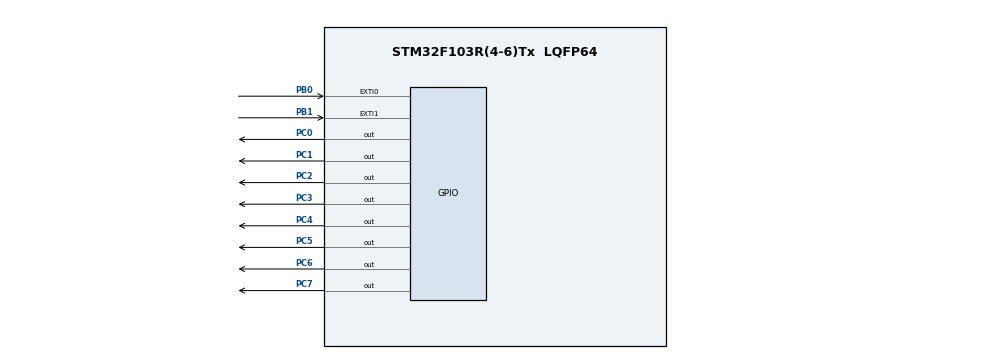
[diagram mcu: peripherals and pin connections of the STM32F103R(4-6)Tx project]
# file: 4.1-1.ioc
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Mcu.Family=STM32F1
Mcu.Name=STM32F103R(4-6)Tx
Mcu.Package=LQFP64
NVIC.EXTI0_IRQn=true\:2\:2\:true\:false\:true\:true\:true
NVIC.EXTI1_IRQn=true\:1\:1\:true\:false\:true\:true\:true
NVIC.PriorityGroup=NVIC_PRIORITYGROUP_2
PB0.GPIO_ModeDefaultEXTI=GPIO_MODE_IT_FALLING
PB0.Signal=GPXTI0
PB1.GPIO_ModeDefaultEXTI=GPIO_MODE_IT_FALLING
PB1.Signal=GPXTI1
PC0.PinState=GPIO_PIN_SET
PC0.Signal=GPIO_Output
PC1.PinState=GPIO_PIN_SET
PC1.Signal=GPIO_Output
PC2.PinState=GPIO_PIN_SET
PC2.Signal=GPIO_Output
PC3.PinState=GPIO_PIN_SET
PC3.Signal=GPIO_Output
PC4.PinState=GPIO_PIN_SET
PC4.Signal=GPIO_Output
PC5.PinState=GPIO_PIN_SET
PC5.Signal=GPIO_Output
PC6.PinState=GPIO_PIN_SET
PC6.Signal=GPIO_Output
PC7.PinState=GPIO_PIN_SET
PC7.Signal=GPIO_Output
ProjectManager.HeapSize=0x200
ProjectManager.StackSize=0x400
ProjectManager.TargetToolchain=STM32CubeIDE
RCC.APB1Freq_Value=8000000
RCC.APB2Freq_Value=8000000
VP_SYS_VS_ND.Mode=No_Debug
board=custom

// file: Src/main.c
/* USER CODE BEGIN Header */
/**
  ******************************************************************************
  * @file           : main.c
  * @brief          : Main program body
  ******************************************************************************
  * @attention
  *
  * <h2><center>&copy; Copyright (c) 2019 STMicroelectronics.
  * All rights reserved.</center></h2>
  *
  * This software component is licensed by ST under BSD 3-Clause license,
  * the "License"; You may not use this file except in compliance with the
  * License. You may obtain a copy of the License at:
  *                        opensource.org/licenses/BSD-3-Clause
  *
  ******************************************************************************
  */
/* USER CODE END Header */

#include "main.h"

void SystemClock_Config(void);
static void MX_GPIO_Init(void);
/* USER CODE BEGIN PFP */
void ByteOut2PC(uint8_t dat);
/* USER CODE END PFP */

int main(void)
{
  /* USER CODE BEGIN 1 */
	int8_t i;
  /* USER CODE END 1 */

  /* MCU Configuration--------------------------------------------------------*/

  /* Reset of all peripherals, Initializes the Flash interface and the Systick. */
  HAL_Init();

  /* Configure the system clock */
  SystemClock_Config();

  /* Initialize all configured peripherals */
  MX_GPIO_Init();

  /* Infinite loop */
  /* USER CODE BEGIN WHILE */
  while (1)
  {
	  for(i=0;i<8;i++)
	  {
		  ByteOut2PC((0xfe<<i)|(0xfe>>(8-i)));
		  HAL_Delay(500);
	  }
    /* USER CODE END WHILE */

  }
}

void SystemClock_Config(void)
{
  RCC_OscInitTypeDef RCC_OscInitStruct = {0};
  RCC_ClkInitTypeDef RCC_ClkInitStruct = {0};

  /** Initializes the CPU, AHB and APB busses clocks
  */
  RCC_OscInitStruct.OscillatorType = RCC_OSCILLATORTYPE_HSI;
  RCC_OscInitStruct.HSIState = RCC_HSI_ON;
  RCC_OscInitStruct.HSICalibrationValue = RCC_HSICALIBRATION_DEFAULT;
  RCC_OscInitStruct.PLL.PLLState = RCC_PLL_NONE;
  if (HAL_RCC_OscConfig(&RCC_OscInitStruct) != HAL_OK)
  {
    Error_Handler();
  }
  /** Initializes the CPU, AHB and APB busses clocks
  */
  RCC_ClkInitStruct.ClockType = RCC_CLOCKTYPE_HCLK|RCC_CLOCKTYPE_SYSCLK
                              |RCC_CLOCKTYPE_PCLK1|RCC_CLOCKTYPE_PCLK2;
  RCC_ClkInitStruct.SYSCLKSource = RCC_SYSCLKSOURCE_HSI;
  RCC_ClkInitStruct.AHBCLKDivider = RCC_SYSCLK_DIV1;
  RCC_ClkInitStruct.APB1CLKDivider = RCC_HCLK_DIV1;
  RCC_ClkInitStruct.APB2CLKDivider = RCC_HCLK_DIV1;

  if (HAL_RCC_ClockConfig(&RCC_ClkInitStruct, FLASH_LATENCY_0) != HAL_OK)
  {
    Error_Handler();
  }
}

static void MX_GPIO_Init(void)
{
  GPIO_InitTypeDef GPIO_InitStruct = {0};

  /* GPIO Ports Clock Enable */
  __HAL_RCC_GPIOC_CLK_ENABLE();
  __HAL_RCC_GPIOB_CLK_ENABLE();

  /*Configure GPIO pin Output Level */
  HAL_GPIO_WritePin(GPIOC, GPIO_PIN_0|GPIO_PIN_1|GPIO_PIN_2|GPIO_PIN_3
                          |GPIO_PIN_4|GPIO_PIN_5|GPIO_PIN_6|GPIO_PIN_7, GPIO_PIN_SET);

  /*Configure GPIO pins : PC0 PC1 PC2 PC3
                           PC4 PC5 PC6 PC7 */
  GPIO_InitStruct.Pin = GPIO_PIN_0|GPIO_PIN_1|GPIO_PIN_2|GPIO_PIN_3
                          |GPIO_PIN_4|GPIO_PIN_5|GPIO_PIN_6|GPIO_PIN_7;
  GPIO_InitStruct.Mode = GPIO_MODE_OUTPUT_PP;
  GPIO_InitStruct.Pull = GPIO_NOPULL;
  GPIO_InitStruct.Speed = GPIO_SPEED_FREQ_LOW;
  HAL_GPIO_Init(GPIOC, &GPIO_InitStruct);

  /*Configure GPIO pins : PB0 PB1 */
  GPIO_InitStruct.Pin = GPIO_PIN_0|GPIO_PIN_1;
  GPIO_InitStruct.Mode = GPIO_MODE_IT_FALLING;
  GPIO_InitStruct.Pull = GPIO_NOPULL;
  HAL_GPIO_Init(GPIOB, &GPIO_InitStruct);

  /* EXTI interrupt init*/
  HAL_NVIC_SetPriority(EXTI0_IRQn, 2, 2);
  HAL_NVIC_EnableIRQ(EXTI0_IRQn);

  HAL_NVIC_SetPriority(EXTI1_IRQn, 1, 1);
  HAL_NVIC_EnableIRQ(EXTI1_IRQn);

}

/* USER CODE BEGIN 4 */
//自定义函数，将1个字节的数据输出到PC端口的PC0~PC7
void ByteOut2PC(uint8_t dat)
{
	if(dat & 0x01)HAL_GPIO_WritePin(GPIOC,GPIO_PIN_0,1);
	else          HAL_GPIO_WritePin(GPIOC,GPIO_PIN_0,0);
	if(dat & 0x02)HAL_GPIO_WritePin(GPIOC,GPIO_PIN_1,1);
	else          HAL_GPIO_WritePin(GPIOC,GPIO_PIN_1,0);
	if(dat & 0x04)HAL_GPIO_WritePin(GPIOC,GPIO_PIN_2,1);
	else          HAL_GPIO_WritePin(GPIOC,GPIO_PIN_2,0);
	if(dat & 0x08)HAL_GPIO_WritePin(GPIOC,GPIO_PIN_3,1);
	else          HAL_GPIO_WritePin(GPIOC,GPIO_PIN_3,0);
	if(dat & 0x10)HAL_GPIO_WritePin(GPIOC,GPIO_PIN_4,1);
	else          HAL_GPIO_WritePin(GPIOC,GPIO_PIN_4,0);
	if(dat & 0x20)HAL_GPIO_WritePin(GPIOC,GPIO_PIN_5,1);
	else          HAL_GPIO_WritePin(GPIOC,GPIO_PIN_5,0);
	if(dat & 0x40)HAL_GPIO_WritePin(GPIOC,GPIO_PIN_6,1);
	else          HAL_GPIO_WritePin(GPIOC,GPIO_PIN_6,0);
	if(dat & 0x80)HAL_GPIO_WritePin(GPIOC,GPIO_PIN_7,1);
	else          HAL_GPIO_WritePin(GPIOC,GPIO_PIN_7,0);
}

void HAL_GPIO_EXTI_Callback(uint16_t GPIO_Pin)
{
	int8_t i;
	if(GPIO_Pin==GPIO_PIN_0)
	{
		for(i=0;i<3;i++)
		{
			ByteOut2PC(0xff);HAL_Delay(500);
			ByteOut2PC(0   );HAL_Delay(500);
		}
	}
	else if(GPIO_Pin==GPIO_PIN_1)
	{
		for(i=0;i<3;i++)
		{
			ByteOut2PC(0x55);HAL_Delay(500);
			ByteOut2PC(0xaa);HAL_Delay(500);
		}
	}
}
/* USER CODE END 4 */

void Error_Handler(void)
{
}

/************************ (C) COPYRIGHT STMicroelectronics *****END OF FILE****/
